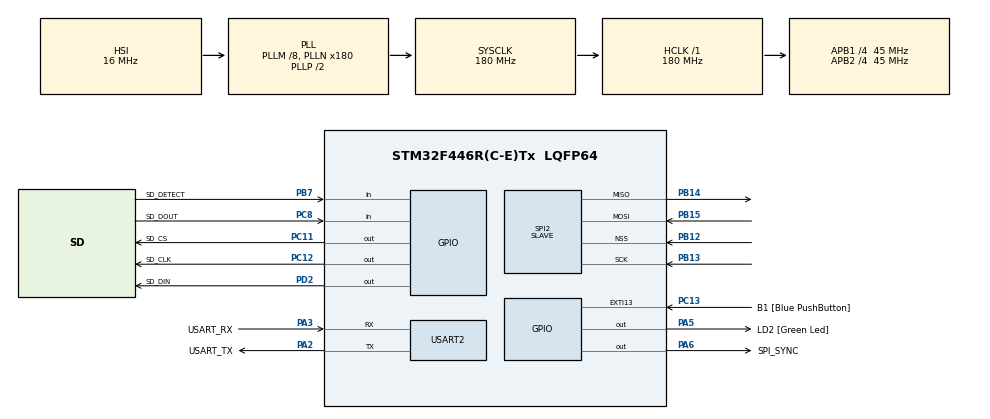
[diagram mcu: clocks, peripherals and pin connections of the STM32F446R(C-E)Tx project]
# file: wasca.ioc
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Dma.Request0=SPI2_RX
Dma.Request1=SPI2_TX
Dma.SPI2_RX.0.Direction=DMA_PERIPH_TO_MEMORY
Dma.SPI2_RX.0.FIFOMode=DMA_FIFOMODE_DISABLE
Dma.SPI2_RX.0.Instance=DMA1_Stream3
Dma.SPI2_RX.0.MemDataAlignment=DMA_MDATAALIGN_HALFWORD
Dma.SPI2_RX.0.MemInc=DMA_MINC_ENABLE
Dma.SPI2_RX.0.Mode=DMA_NORMAL
Dma.SPI2_RX.0.PeriphDataAlignment=DMA_PDATAALIGN_HALFWORD
Dma.SPI2_RX.0.PeriphInc=DMA_PINC_DISABLE
Dma.SPI2_RX.0.Priority=DMA_PRIORITY_VERY_HIGH
Dma.SPI2_TX.1.Direction=DMA_MEMORY_TO_PERIPH
Dma.SPI2_TX.1.FIFOMode=DMA_FIFOMODE_DISABLE
Dma.SPI2_TX.1.Instance=DMA1_Stream4
Dma.SPI2_TX.1.MemDataAlignment=DMA_MDATAALIGN_HALFWORD
Dma.SPI2_TX.1.MemInc=DMA_MINC_ENABLE
Dma.SPI2_TX.1.Mode=DMA_NORMAL
Dma.SPI2_TX.1.PeriphDataAlignment=DMA_PDATAALIGN_HALFWORD
Dma.SPI2_TX.1.PeriphInc=DMA_PINC_DISABLE
Dma.SPI2_TX.1.Priority=DMA_PRIORITY_VERY_HIGH
Mcu.Family=STM32F4
Mcu.Name=STM32F446R(C-E)Tx
Mcu.Package=LQFP64
NVIC.DMA1_Stream3_IRQn=true\:0\:0\:false\:false\:true\:false\:true
NVIC.DMA1_Stream4_IRQn=true\:0\:0\:false\:false\:true\:false\:true
NVIC.PriorityGroup=NVIC_PRIORITYGROUP_0
NVIC.SPI2_IRQn=true\:0\:0\:false\:false\:true\:true\:true
PA13.GPIO_Label=TMS
PA13.Mode=JTAG_5_pins
PA13.Signal=SYS_JTMS-SWDIO
PA14.GPIO_Label=TCK
PA14.Mode=JTAG_5_pins
PA14.Signal=SYS_JTCK-SWCLK
PA15.Mode=JTAG_5_pins
PA15.Signal=SYS_JTDI
PA2.GPIO_Label=USART_TX
PA2.Mode=Asynchronous
PA2.Signal=USART2_TX
PA3.GPIO_Label=USART_RX
PA3.Mode=Asynchronous
PA3.Signal=USART2_RX
PA5.GPIO_Label=LD2 [Green Led]
PA5.Signal=GPIO_Output
PA6.GPIO_Label=SPI_SYNC
PA6.GPIO_Speed=GPIO_SPEED_FREQ_VERY_HIGH
PA6.PinState=GPIO_PIN_SET
PA6.Signal=GPIO_Output
PB12.Mode=NSS_Signal_Hard_Input
PB12.Signal=SPI2_NSS
PB13.Mode=Full_Duplex_Slave
PB13.Signal=SPI2_SCK
PB14.Mode=Full_Duplex_Slave
PB14.Signal=SPI2_MISO
PB15.Mode=Full_Duplex_Slave
PB15.Signal=SPI2_MOSI
PB3.GPIO_Label=SWO
PB3.Mode=JTAG_5_pins
PB3.Signal=SYS_JTDO-SWO
PB4.Mode=JTAG_5_pins
PB4.Signal=SYS_JTRST
PB7.GPIO_Label=SD_DETECT
PB7.Signal=GPIO_Input
PC11.GPIO_Label=SD_CS
PC11.Signal=GPIO_Output
PC12.GPIO_Label=SD_CLK
PC12.Signal=GPIO_Output
PC13.GPIO_Label=B1 [Blue PushButton]
PC13.GPIO_ModeDefaultEXTI=GPIO_MODE_IT_FALLING
PC13.Signal=GPXTI13
PC14-OSC32_IN.Mode=LSE-External-Oscillator
PC14-OSC32_IN.Signal=RCC_OSC32_IN
PC15-OSC32_OUT.Mode=LSE-External-Oscillator
PC15-OSC32_OUT.Signal=RCC_OSC32_OUT
PC8.GPIO_Label=SD_DOUT
PC8.Signal=GPIO_Input
PD2.GPIO_Label=SD_DIN
PD2.Signal=GPIO_Output
PH0-OSC_IN.Mode=HSE-External-Oscillator
PH0-OSC_IN.Signal=RCC_OSC_IN
PH1-OSC_OUT.Mode=HSE-External-Oscillator
PH1-OSC_OUT.Signal=RCC_OSC_OUT
ProjectManager.HeapSize=0x4000
ProjectManager.StackSize=0x800
ProjectManager.TargetToolchain=Makefile
RCC.48MHZClocksFreq_Value=84000000
RCC.AHBFreq_Value=180000000
RCC.APB1CLKDivider=RCC_HCLK_DIV4
RCC.APB1Freq_Value=45000000
RCC.APB1TimFreq_Value=90000000
RCC.APB2CLKDivider=RCC_HCLK_DIV4
RCC.APB2Freq_Value=45000000
RCC.APB2TimFreq_Value=90000000
RCC.CortexFreq_Value=180000000
RCC.FLatency-AdvancedSettings=FLASH_LATENCY_5
RCC.HCLKFreq_Value=180000000
RCC.HSE_VALUE=22579200
RCC.HSI_VALUE=16000000
RCC.PLLM=8
RCC.PLLN=180
RCC.PLLQ=8
RCC.SYSCLKFreq_VALUE=180000000
RCC.SYSCLKSource=RCC_SYSCLKSOURCE_PLLCLK
RCC.USBFreq_Value=45000000
RCC.VCOOutputFreq_Value=360000000
SPI2.DataSize=SPI_DATASIZE_16BIT
SPI2.Direction=SPI_DIRECTION_2LINES
SPI2.Mode=SPI_MODE_SLAVE
SPI2.VirtualNSS=VM_NSSHARD
SPI2.VirtualType=VM_SLAVE
USART2.VirtualMode=VM_ASYNC
board=NUCLEO-F446RE

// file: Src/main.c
/* USER CODE BEGIN Header */
/**
  ******************************************************************************
  * @file           : main.c
  * @brief          : Main program body
  ******************************************************************************
  * @attention
  *
  * <h2><center>&copy; Copyright (c) 2020 STMicroelectronics.
  * All rights reserved.</center></h2>
  *
  * This software component is licensed by ST under Ultimate Liberty license
  * SLA0044, the "License"; You may not use this file except in compliance with
  * the License. You may obtain a copy of the License at:
  *                             www.st.com/SLA0044
  *
  ******************************************************************************
  */
/* USER CODE END Header */
#include "main.h"

/* USER CODE BEGIN Includes */

#include <string.h>
#include "spi_max10.h"
#include "log.h"

#include "sdcard/sdcard.h"

/* USER CODE END Includes */

SPI_HandleTypeDef hspi2;
DMA_HandleTypeDef hdma_spi2_rx;
DMA_HandleTypeDef hdma_spi2_tx;

UART_HandleTypeDef huart2;

/* USER CODE BEGIN PV */
/* Private variables ---------------------------------------------------------*/

/* File entries, used when listing SD card root folder contents. */
#define FILES_MAXCOUNT 100
scdf_file_entry_t _file_entries[FILES_MAXCOUNT];
unsigned char _sdcard_read_test[32*1024];

/* USER CODE END PV */

void SystemClock_Config(void);
static void MX_GPIO_Init(void);
static void MX_DMA_Init(void);
static void MX_USART2_UART_Init(void);
static void MX_SPI2_Init(void);
/* USER CODE BEGIN PFP */
/* Private function prototypes -----------------------------------------------*/

/* USER CODE END PFP */

/* USER CODE BEGIN 0 */

// Redirect printf to UART
// Related information : http://www.openstm32.org/forumthread1346
int __io_putchar(int ch)
{
    HAL_UART_Transmit(&huart2, (uint8_t *)&ch, 1, 0xFFFF);

    return ch;
}
int _write(int file, char *ptr, int len)
{
    int DataIdx;

    for (DataIdx = 0; DataIdx < len; DataIdx++)
    {
        __io_putchar(*ptr++);
    }
    return len;
}

/* USER CODE END 0 */

int main(void)
{

  /* MCU Configuration--------------------------------------------------------*/

  /* Reset of all peripherals, Initializes the Flash interface and the Systick. */
  HAL_Init();

  /* USER CODE BEGIN Init */
  log_init();
  /* USER CODE END Init */

  /* Configure the system clock */
  SystemClock_Config();

  /* Initialize all configured peripherals */
  MX_GPIO_Init();
  MX_DMA_Init();
  MX_USART2_UART_Init();
  MX_SPI2_Init();
  /* USER CODE BEGIN 2 */

  /* Output a message on Hyperterminal using printf function */
  termout(WL_LOG_DEBUGNORMAL, "UART Printf Example: retarget the C library printf function to the UART");
  termout(WL_LOG_DEBUGNORMAL, "Build Date : %s, time : %s, for Nucleo F446RE.", __DATE__, __TIME__);

#if 0
while(1) // TEST : see how good or bad SPI synchronization status is read from MAX10
{
//#define SPI_MAX10_RCV_HDR_READY() HAL_GPIO_WritePin(GPIOA, SPI_SYNC_Pin, GPIO_PIN_RESET)
//#define SPI_MAX10_SND_RSP_READY() HAL_GPIO_WritePin(GPIOA, SPI_SYNC_Pin, GPIO_PIN_SET  )
    int stateOfPushButton = HAL_GPIO_ReadPin(GPIOC, B1_Pin);
    if(stateOfPushButton == GPIO_PIN_RESET)
    {
        HAL_GPIO_WritePin(GPIOA, SPI_SYNC_Pin, GPIO_PIN_RESET);
        HAL_GPIO_WritePin(LD2_GPIO_Port, LD2_Pin, GPIO_PIN_RESET);
    }
    else
    {
        HAL_GPIO_WritePin(GPIOA, SPI_SYNC_Pin, GPIO_PIN_SET  );
        HAL_GPIO_WritePin(LD2_GPIO_Port, LD2_Pin, GPIO_PIN_SET);
    }
}
#endif

  logout(WL_LOG_DEBUGNORMAL, "---");
  logout(WL_LOG_DEBUGNORMAL, "UART Printf Example: retarget the C library printf function to the UART");
  logout(WL_LOG_DEBUGNORMAL, "Build Date : %s, time : %s, for Nucleo F446RE.", __DATE__, __TIME__);

  /* Initialize SPI internals. */
  spi_init();

  /* Initialize SD card related stuff. */
  scf_init();

  /* ----------------------------------------------------- */
  /* ----------------------------------------------------- */
  /* ----------------------------------------------------- */
  termout(WL_LOG_DEBUGNORMAL, "------------------------------------------");
  termout(WL_LOG_DEBUGNORMAL, "------------------------------------------");
  termout(WL_LOG_DEBUGNORMAL, "------------------------------------------");

    /* SD card test related. */
    // char* filename;
    // unsigned long tmp;
    sdcard_t* sd = sc_get_sdcard_buff();
    sdc_ret_t ret;
    unsigned long items_count;
unsigned char char2pchar(unsigned char c);

    /* Re-init SD card library.
     * Note : if error is detected here, then SD card won't be
     *        tested after that. This is in order to support
     *        test on Action Replay carts without flooding
     *        screen with errors.
     */
    sdc_fat_reset();
    sdc_fat_init();
    ret = sd->init_status;

    if(ret == SDC_OK)
    {
        termout(WL_LOG_DEBUGNORMAL, "SD card init success");
    }
    else
    {
        termout(WL_LOG_DEBUGNORMAL, "SD card init failure ! ret = %d", ret);

        HAL_GPIO_WritePin(SD_CS_GPIO_Port , SD_CS_Pin , GPIO_PIN_SET);
        HAL_GPIO_WritePin(SD_DIN_GPIO_Port, SD_DIN_Pin, GPIO_PIN_SET);
        HAL_GPIO_WritePin(SD_CLK_GPIO_Port, SD_CLK_Pin, GPIO_PIN_SET);
        int val = HAL_GPIO_ReadPin(SD_DOUT_GPIO_Port, SD_DOUT_Pin);

        while(1)
        {
            int set = ((HAL_GetTick() % 4000) > 2000 ? 1 : 0);
            //HAL_GPIO_WritePin(SD_CS_GPIO_Port , SD_CS_Pin , (set ? GPIO_PIN_SET : GPIO_PIN_RESET));
            //HAL_GPIO_WritePin(SD_DIN_GPIO_Port, SD_DIN_Pin, (set ? GPIO_PIN_SET : GPIO_PIN_RESET));
            HAL_GPIO_WritePin(SD_CLK_GPIO_Port, SD_CLK_Pin, (set ? GPIO_PIN_SET : GPIO_PIN_RESET));

            int val2 = HAL_GPIO_ReadPin(SD_DOUT_GPIO_Port, SD_DOUT_Pin);
            //termout(WL_LOG_DEBUGNORMAL, "DOUT : %d", val2);
            if(val2 != val)
            {
                termout(WL_LOG_DEBUGNORMAL, "DOUT activity ! %d", val2);
                val = val2;
            }
        }
    }

    termout(WL_LOG_DEBUGNORMAL, "CID register details:");
    termout(WL_LOG_DEBUGNORMAL, " | Mfg ID         MID=%d"                 , sd->stats.cid[ 0]);
    termout(WL_LOG_DEBUGNORMAL, " | OEM/App ID     OID=%c%c"               , char2pchar(sd->stats.cid[ 1]), char2pchar(sd->stats.cid[ 2]));
    termout(WL_LOG_DEBUGNORMAL, " | Product name   PNM=%c%c%c%c%c"         , char2pchar(sd->stats.cid[ 3]), char2pchar(sd->stats.cid[ 4]), char2pchar(sd->stats.cid[ 5]), char2pchar(sd->stats.cid[ 6]), char2pchar(sd->stats.cid[ 7]));
    termout(WL_LOG_DEBUGNORMAL, " | Product rev    PRV=0x%02X (v%d.%d)"    , sd->stats.cid[ 8], sd->stats.cid[ 8]>>4, sd->stats.cid[ 8] & 0x0F);
    termout(WL_LOG_DEBUGNORMAL, " | Product serial PSN=0x%02X%02X%02X%02X" , sd->stats.cid[ 9], sd->stats.cid[10], sd->stats.cid[11], sd->stats.cid[12]);
    termout(WL_LOG_DEBUGNORMAL, " | Mfg date       MDT=0x%04X %4d/%2d"     , ((sd->stats.cid[13]&0x0F) << 8) | sd->stats.cid[14], 2000+(((sd->stats.cid[13]&0x0F) << 4) | sd->stats.cid[14]>>4), sd->stats.cid[14]&0x0F);
    termout(WL_LOG_DEBUGNORMAL, " | checksum*2+1   CRC=0x%02X"             , sd->stats.cid[15]);
// #define CHAR_PER_LINE 8
//     for(j=0; j<(sizeof(sd->stats.cid) / CHAR_PER_LINE); j++)
//     {
//         /* Display start address. */
//         conio_printf(2, row, COLOR_YELLOW, "%03X:", j*CHAR_PER_LINE);
//
//         for(i=0; i<CHAR_PER_LINE; i++)
//         {
//             unsigned char c = sd->stats.cid[j*CHAR_PER_LINE + i];
//             conio_printf(2+4+i*3  , row, COLOR_WHITE, "%02X", c);
//             conio_printf(2+4+8*3+i, row, COLOR_WHITE, "%c"  , char2pchar(c));
//         }
//         row++;
//     }
// #undef CHAR_PER_LINE
    termout(WL_LOG_DEBUGNORMAL, "");

    termout(WL_LOG_DEBUGNORMAL, "CSD register details:");
    termout(WL_LOG_DEBUGNORMAL, " | sdhc        = %d (CCS=%d)", sd->stats.sdhc, sd->ccs);
    termout(WL_LOG_DEBUGNORMAL, " | file_format = %d", sd->stats.file_format);
    termout(WL_LOG_DEBUGNORMAL, " | user_size   = %d MB", sd->stats.user_size);
// #define CHAR_PER_LINE 8
//     for(j=0; j<(sizeof(sd->stats.csd) / CHAR_PER_LINE); j++)
//     {
//         /* Display start address. */
//         conio_printf(2, row, COLOR_YELLOW, "%03X:", j*CHAR_PER_LINE);
//
//         for(i=0; i<CHAR_PER_LINE; i++)
//         {
//             unsigned char c = sd->stats.csd[j*CHAR_PER_LINE + i];
//             conio_printf(2+4+i*3  , row, COLOR_WHITE, "%02X", c);
//             conio_printf(2+4+8*3+i, row, COLOR_WHITE, "%c"  , char2pchar(c));
//         }
//         row++;
//     }
// #undef CHAR_PER_LINE
    termout(WL_LOG_DEBUGNORMAL, "");

    termout(WL_LOG_DEBUGNORMAL, "Sector #0 contents:");

    /* Display sector#0 contents. */
    unsigned char sector_data[512];
    memset(sector_data, 0xFE, sizeof(sector_data));
    sdc_read_multiple_blocks(0/*sector*/, sector_data, 1/*blocks_count*/);

    int offset_list[20] =
    {
        0, 1, 2, 3, 4, 5, 6, 7, 8, 9, 10, 11,
        55, 56, 57, 58, 59, 60, 61,             /* First partition data.    */
        63                                      /* Signature (55 AA).       */
    };
#define CHAR_PER_LINE 8
    for(int j=0; j<sizeof(offset_list) / sizeof(int); j++)
    {
        char tmp[CHAR_PER_LINE+1] = { '\0' };

        for(int i=0; i<CHAR_PER_LINE; i++)
        {
            tmp[i] = char2pchar(sector_data[offset_list[j]*CHAR_PER_LINE+i]);
        }

        termout(WL_LOG_DEBUGNORMAL, "%03X: %s", offset_list[j]*CHAR_PER_LINE, tmp);
    }
#undef CHAR_PER_LINE

    /* Try to list files in root folder. */
    sdc_fat_reset();
    ret = sdc_fat_init();

    termout(WL_LOG_DEBUGNORMAL, "Listing files ...");
    items_count = scf_filelist(_file_entries, FILES_MAXCOUNT, 0/*list_offset*/, 1/*list_sort*/, NULL/*all files*/, SC_FILE_SDCARD, "/");
    termout(WL_LOG_DEBUGNORMAL, "-> %d files in root folder", items_count);

    for(int i=0; i<items_count; i++)
    {
        unsigned short sort_index = _file_entries[i].sort_index;

        char test_path[SC_PATHNAME_MAXLEN];
        sprintf(test_path, "/%s", _file_entries[sort_index].filename);
        unsigned long test_size = 0;
        test_size = scf_size(SC_FILE_SDCARD, test_path);

        termout(WL_LOG_DEBUGNORMAL, "ITM[%2d][%2d] size:%8u, name:\"%s\"", i, sort_index, test_size, _file_entries[sort_index].filename);
    }

#if 0
    /* Retrieve size of a specific file. */
    unsigned long test_size = 0;
    test_size = scf_size(SC_FILE_SDCARD, "/0.bin");
    termout(WL_LOG_DEBUGNORMAL, "0.bin file size : %u bytes", test_size);
#endif

    /* Read a specific size. */
    unsigned long sdcard_read_stt = HAL_GetTick();
    scf_read(SC_FILE_SDCARD, "/sonicr.iso", 0, sizeof(_sdcard_read_test), _sdcard_read_test);
    unsigned long sdcard_read_end = HAL_GetTick();
    unsigned long sdcard_read_diff = sdcard_read_end - sdcard_read_stt;
    unsigned long sdcard_read_speed = ((sizeof(_sdcard_read_test)/1024) * 1000) / sdcard_read_diff;
    termout(WL_LOG_DEBUGNORMAL, "%u KB read in %u msec. speed = %u KB/s", sizeof(_sdcard_read_test) >> 10, sdcard_read_diff, sdcard_read_speed);

#define CHAR_PER_LINE 16
    for(int j=0; j<8; j++)
    {
        char tmp[CHAR_PER_LINE+1] = { '\0' };

        for(int i=0; i<CHAR_PER_LINE; i++)
        {
            tmp[i] = char2pchar(_sdcard_read_test[(j*CHAR_PER_LINE) + i]);
        }

        termout(WL_LOG_DEBUGNORMAL, "%03X: %s", j*CHAR_PER_LINE, tmp);
    }
#undef CHAR_PER_LINE

  /* ----------------------------------------------------- */
  /* ----------------------------------------------------- */
  /* ----------------------------------------------------- */

  /* USER CODE END 2 */

  /* Infinite loop */
  /* USER CODE BEGIN WHILE */
  unsigned char logmsg_id = 0;

  /* Count the number of packets received between two time intervals. */
  unsigned long spi_init_cnt = 0;
  unsigned long prev_spi_init_cnt = spi_init_cnt;
  unsigned long prev_spi_init_tickcnt = HAL_GetTick();

  unsigned long prev_tick = HAL_GetTick();
  while (1)
  {
    wl_spi_trans_hdr_t* trans_hdr = &_spi_trans_hdr;

    /* Display SPI communication status. */
    log_infos_t* log_info = &_log_inf_data;

    /* Compute the number of packets exchanged in one second. */
    unsigned long spi_init_tickcnt = HAL_GetTick();
    unsigned long spi_tick_delta = spi_init_tickcnt - prev_spi_init_tickcnt;
    if(spi_tick_delta == 0)
    {
        spi_tick_delta = 1;
    }

    unsigned long spi_packet_rate = spi_init_cnt - prev_spi_init_cnt;
    spi_packet_rate = (1000 * spi_packet_rate) / spi_tick_delta;

    /* Also indicate transfer speed in KB/s unit.
     * Note : as same data size is sent in both directions between
     *        MAX 10 and STM32, speed is indicated as "theoretical"
     *        maximum speed that would be reached with proper transmission
     *        protocol which (for example) would feature larger packet
     *        size from the device transferring the larger amount of data.
     */
    unsigned long spi_speed_kbps = spi_packet_rate * (WL_SPI_PARAMS_LEN * 2);
    spi_speed_kbps = spi_speed_kbps / 1024;

    prev_spi_init_cnt = spi_init_cnt;
    prev_spi_init_tickcnt = spi_init_tickcnt;

    trans_hdr->params[30] = '\0';
    logout(WL_LOG_DEBUGNORMAL, "[%08X:%d] ID[%3u] PKT/s[%4u][%4u KB/s] END[%02X%02X%02X%02X] [%s] [cbu:%5u] R:%04X W:%04X"
        , (unsigned int)HAL_GetTick()
        , _spi_state
        , (unsigned int)logmsg_id
        , (unsigned int)spi_packet_rate
        , (unsigned int)spi_speed_kbps
        //, trans_hdr->cmn.magic_ca , trans_hdr->cmn.magic_fe // PKT[%02X %02X]
        , trans_hdr->end_bytes[0], trans_hdr->end_bytes[1], trans_hdr->end_bytes[2], trans_hdr->end_bytes[3]
        , trans_hdr->params
        , (unsigned int)log_cbmem_use()
        , log_info->readptr, log_info->writeptr
        );

    logmsg_id++;

    //int i;
    while(1)
    {
        // // STM32 SPI synchronization test (I/O test only) vvv
        // int stateOfPushButton = HAL_GPIO_ReadPin(GPIOC, B1_Pin);
        // logout(WL_LOG_DEBUGNORMAL, "    [0x%08X][%s::%d] SYNC:%d", (unsigned int)HAL_GetTick(), __FILE__, __LINE__, stateOfPushButton);
        // HAL_GPIO_WritePin(GPIOA, SPI_SYNC_Pin, (stateOfPushButton ? GPIO_PIN_SET : GPIO_PIN_RESET));
        // // STM32 SPI synchronization test (I/O test only) ^^^

        //HAL_Delay(50);

        /* Send log message at a reasonable rate when blue button is released,
         * and like crazy when it is pushed.
         */
        unsigned long log_period = (HAL_GPIO_ReadPin(GPIOC, B1_Pin) == GPIO_PIN_RESET ? 10 : 500);
        if((HAL_GetTick() - prev_tick) > log_period)
        {
            break;
        }

        /* If packet received from MAX 10,
         * then process its answer.
         */
        if(spi_periodic_check() == 1)
        {
            spi_init_cnt++;
        }
    }

    prev_tick = HAL_GetTick();

    /* USER CODE END WHILE */

  }
}

void SystemClock_Config(void)
{
  RCC_OscInitTypeDef RCC_OscInitStruct = {0};
  RCC_ClkInitTypeDef RCC_ClkInitStruct = {0};

  /** Configure the main internal regulator output voltage
  */
  __HAL_RCC_PWR_CLK_ENABLE();
  __HAL_PWR_VOLTAGESCALING_CONFIG(PWR_REGULATOR_VOLTAGE_SCALE1);
  /** Initializes the RCC Oscillators according to the specified parameters
  * in the RCC_OscInitTypeDef structure.
  */
  RCC_OscInitStruct.OscillatorType = RCC_OSCILLATORTYPE_HSI;
  RCC_OscInitStruct.HSIState = RCC_HSI_ON;
  RCC_OscInitStruct.HSICalibrationValue = RCC_HSICALIBRATION_DEFAULT;
  RCC_OscInitStruct.PLL.PLLState = RCC_PLL_ON;
  RCC_OscInitStruct.PLL.PLLSource = RCC_PLLSOURCE_HSI;
  RCC_OscInitStruct.PLL.PLLM = 8;
  RCC_OscInitStruct.PLL.PLLN = 180;
  RCC_OscInitStruct.PLL.PLLP = RCC_PLLP_DIV2;
  RCC_OscInitStruct.PLL.PLLQ = 8;
  RCC_OscInitStruct.PLL.PLLR = 2;
  if (HAL_RCC_OscConfig(&RCC_OscInitStruct) != HAL_OK)
  {
    Error_Handler();
  }
  /** Activate the Over-Drive mode
  */
  if (HAL_PWREx_EnableOverDrive() != HAL_OK)
  {
    Error_Handler();
  }
  /** Initializes the CPU, AHB and APB buses clocks
  */
  RCC_ClkInitStruct.ClockType = RCC_CLOCKTYPE_HCLK|RCC_CLOCKTYPE_SYSCLK
                              |RCC_CLOCKTYPE_PCLK1|RCC_CLOCKTYPE_PCLK2;
  RCC_ClkInitStruct.SYSCLKSource = RCC_SYSCLKSOURCE_PLLCLK;
  RCC_ClkInitStruct.AHBCLKDivider = RCC_SYSCLK_DIV1;
  RCC_ClkInitStruct.APB1CLKDivider = RCC_HCLK_DIV4;
  RCC_ClkInitStruct.APB2CLKDivider = RCC_HCLK_DIV4;

  if (HAL_RCC_ClockConfig(&RCC_ClkInitStruct, FLASH_LATENCY_5) != HAL_OK)
  {
    Error_Handler();
  }
}

static void MX_SPI2_Init(void)
{

  /* SPI2 parameter configuration*/
  hspi2.Instance = SPI2;
  hspi2.Init.Mode = SPI_MODE_SLAVE;
  hspi2.Init.Direction = SPI_DIRECTION_2LINES;
  hspi2.Init.DataSize = SPI_DATASIZE_16BIT;
  hspi2.Init.CLKPolarity = SPI_POLARITY_LOW;
  hspi2.Init.CLKPhase = SPI_PHASE_1EDGE;
  hspi2.Init.NSS = SPI_NSS_HARD_INPUT;
  hspi2.Init.FirstBit = SPI_FIRSTBIT_MSB;
  hspi2.Init.TIMode = SPI_TIMODE_DISABLE;
  hspi2.Init.CRCCalculation = SPI_CRCCALCULATION_DISABLE;
  hspi2.Init.CRCPolynomial = 10;
  if (HAL_SPI_Init(&hspi2) != HAL_OK)
  {
    Error_Handler();
  }

}

static void MX_USART2_UART_Init(void)
{

  huart2.Instance = USART2;
  huart2.Init.BaudRate = 115200;
  huart2.Init.WordLength = UART_WORDLENGTH_8B;
  huart2.Init.StopBits = UART_STOPBITS_1;
  huart2.Init.Parity = UART_PARITY_NONE;
  huart2.Init.Mode = UART_MODE_TX_RX;
  huart2.Init.HwFlowCtl = UART_HWCONTROL_NONE;
  huart2.Init.OverSampling = UART_OVERSAMPLING_16;
  if (HAL_UART_Init(&huart2) != HAL_OK)
  {
    Error_Handler();
  }

}

static void MX_DMA_Init(void)
{

  /* DMA controller clock enable */
  __HAL_RCC_DMA1_CLK_ENABLE();

  /* DMA interrupt init */
  /* DMA1_Stream3_IRQn interrupt configuration */
  HAL_NVIC_SetPriority(DMA1_Stream3_IRQn, 0, 0);
  HAL_NVIC_EnableIRQ(DMA1_Stream3_IRQn);
  /* DMA1_Stream4_IRQn interrupt configuration */
  HAL_NVIC_SetPriority(DMA1_Stream4_IRQn, 0, 0);
  HAL_NVIC_EnableIRQ(DMA1_Stream4_IRQn);

}

static void MX_GPIO_Init(void)
{
  GPIO_InitTypeDef GPIO_InitStruct = {0};

  /* GPIO Ports Clock Enable */
  __HAL_RCC_GPIOC_CLK_ENABLE();
  __HAL_RCC_GPIOH_CLK_ENABLE();
  __HAL_RCC_GPIOA_CLK_ENABLE();
  __HAL_RCC_GPIOB_CLK_ENABLE();
  __HAL_RCC_GPIOD_CLK_ENABLE();

  /*Configure GPIO pin Output Level */
  HAL_GPIO_WritePin(LD2_GPIO_Port, LD2_Pin, GPIO_PIN_RESET);

  /*Configure GPIO pin Output Level */
  HAL_GPIO_WritePin(SPI_SYNC_GPIO_Port, SPI_SYNC_Pin, GPIO_PIN_SET);

  /*Configure GPIO pin Output Level */
  HAL_GPIO_WritePin(GPIOC, SD_CS_Pin|SD_CLK_Pin, GPIO_PIN_RESET);

  /*Configure GPIO pin Output Level */
  HAL_GPIO_WritePin(SD_DIN_GPIO_Port, SD_DIN_Pin, GPIO_PIN_RESET);

  /*Configure GPIO pin : B1_Pin */
  GPIO_InitStruct.Pin = B1_Pin;
  GPIO_InitStruct.Mode = GPIO_MODE_IT_FALLING;
  GPIO_InitStruct.Pull = GPIO_NOPULL;
  HAL_GPIO_Init(B1_GPIO_Port, &GPIO_InitStruct);

  /*Configure GPIO pin : LD2_Pin */
  GPIO_InitStruct.Pin = LD2_Pin;
  GPIO_InitStruct.Mode = GPIO_MODE_OUTPUT_PP;
  GPIO_InitStruct.Pull = GPIO_NOPULL;
  GPIO_InitStruct.Speed = GPIO_SPEED_FREQ_LOW;
  HAL_GPIO_Init(LD2_GPIO_Port, &GPIO_InitStruct);

  /*Configure GPIO pin : SPI_SYNC_Pin */
  GPIO_InitStruct.Pin = SPI_SYNC_Pin;
  GPIO_InitStruct.Mode = GPIO_MODE_OUTPUT_PP;
  GPIO_InitStruct.Pull = GPIO_NOPULL;
  GPIO_InitStruct.Speed = GPIO_SPEED_FREQ_VERY_HIGH;
  HAL_GPIO_Init(SPI_SYNC_GPIO_Port, &GPIO_InitStruct);

  /*Configure GPIO pin : SD_DOUT_Pin */
  GPIO_InitStruct.Pin = SD_DOUT_Pin;
  GPIO_InitStruct.Mode = GPIO_MODE_INPUT;
  GPIO_InitStruct.Pull = GPIO_NOPULL;
  HAL_GPIO_Init(SD_DOUT_GPIO_Port, &GPIO_InitStruct);

  /*Configure GPIO pins : SD_CS_Pin SD_CLK_Pin */
  GPIO_InitStruct.Pin = SD_CS_Pin|SD_CLK_Pin;
  GPIO_InitStruct.Mode = GPIO_MODE_OUTPUT_PP;
  GPIO_InitStruct.Pull = GPIO_NOPULL;
  GPIO_InitStruct.Speed = GPIO_SPEED_FREQ_LOW;
  HAL_GPIO_Init(GPIOC, &GPIO_InitStruct);

  /*Configure GPIO pin : SD_DIN_Pin */
  GPIO_InitStruct.Pin = SD_DIN_Pin;
  GPIO_InitStruct.Mode = GPIO_MODE_OUTPUT_PP;
  GPIO_InitStruct.Pull = GPIO_NOPULL;
  GPIO_InitStruct.Speed = GPIO_SPEED_FREQ_LOW;
  HAL_GPIO_Init(SD_DIN_GPIO_Port, &GPIO_InitStruct);

  /*Configure GPIO pin : SD_DETECT_Pin */
  GPIO_InitStruct.Pin = SD_DETECT_Pin;
  GPIO_InitStruct.Mode = GPIO_MODE_INPUT;
  GPIO_InitStruct.Pull = GPIO_NOPULL;
  HAL_GPIO_Init(SD_DETECT_GPIO_Port, &GPIO_InitStruct);

}

void Error_Handler(void)
{
  /* USER CODE BEGIN Error_Handler_Debug */
  /* User can add his own implementation to report the HAL error return state */

    logout(WL_LOG_DEBUGNORMAL, "***-***-***-***-***-***");
    // logout(WL_LOG_DEBUGNORMAL, "Tick[0x%08X] Error_Handler at \"%s\"::%d"
    //     , (unsigned int)HAL_GetTick()
    //     , file
    //     , line);

    /* Make LD2 (green LED) blinking for a small while when error happens. */
    int i;
    for(i=0; i<3; i++)
    {
        HAL_GPIO_WritePin(GPIOA, LD2_Pin, GPIO_PIN_SET);
        HAL_Delay(200);
        HAL_GPIO_WritePin(GPIOA, LD2_Pin, GPIO_PIN_RESET);
        HAL_Delay(200);
    }

  //while(1)
  //{
  //}
  /* USER CODE END Error_Handler_Debug */
}

/************************ (C) COPYRIGHT STMicroelectronics *****END OF FILE****/
